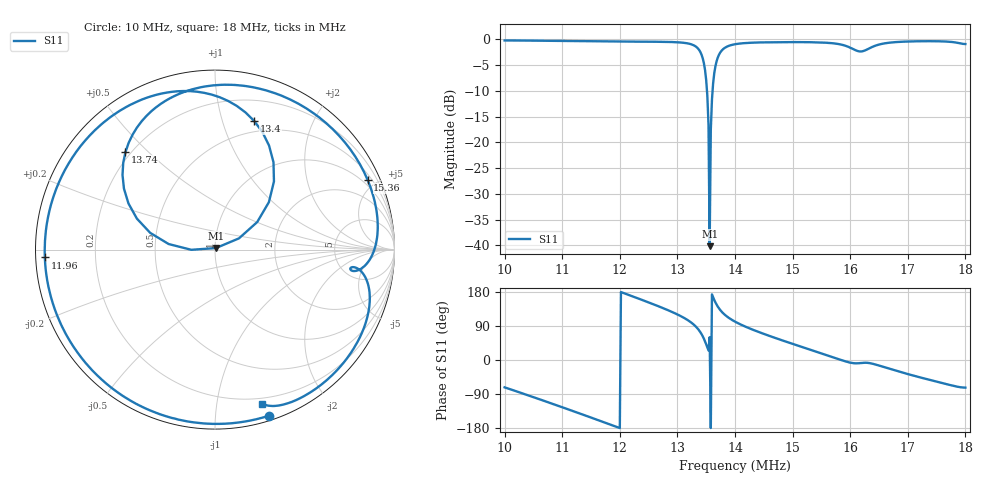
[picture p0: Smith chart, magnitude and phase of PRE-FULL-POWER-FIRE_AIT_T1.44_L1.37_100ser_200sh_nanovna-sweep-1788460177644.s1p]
! NanoVNA Web complex sweep
! Processing: original sample grid, no browser smoothing
# Hz S RI R 50
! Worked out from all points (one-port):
!   401 points, 10 MHz to 18 MHz, reference 50 ohm
!   lowest |S11| = -40.2 dB at 13.56 MHz (marker M1), VSWR 1.02, Z = 50.5 + j0.861 ohm
!   |S11| at or under -10 dB: 13.51 MHz to 13.61 MHz (97.54 kHz wide, 0.719 % of centre)
!   S11 on the Smith chart (normalised r, x): 10 MHz: 0.04, -1.37; 11.96 MHz: 0.03, -0.02; 13.4 MHz: 0.39, +1.27; 13.74 MHz: 0.18, +0.43; 15.36 MHz: 0.73, +4.49; 18 MHz: 0.15, -1.34
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1e7  0.2982 -0.9265
1.05e7  -0.1357 -0.9601
1.1e7  -0.5472 -0.792
1.15e7  -0.8417 -0.45
1.196e7  -0.9481 -0.0437
1.2e7  -0.9489 -0.00678
1.252e7  -0.826 0.4617
1.3e7  -0.4705 0.8074
1.326e7  -0.0998 0.8797
1.34e7  0.2184 0.7165
1.348e7  0.3285 0.3796
1.35e7  0.3003 0.2645
1.352e7  0.2353 0.1535
1.356e7  0.00489 0.00853
1.36e7  -0.2583 0.031
1.362e7  -0.361 0.0932
1.364e7  -0.4351 0.1726
1.374e7  -0.4987 0.5438
1.386e7  -0.3559 0.7699
1.4e7  -0.1746 0.8773
1.442e7  0.2655 0.8924
1.5e7  0.6907 0.6352
1.536e7  0.8506 0.3877
1.6e7  0.8205 -0.1016
1.634e7  0.8117 -0.1187
1.7e7  0.7578 -0.5742
1.758e7  0.4743 -0.8278
1.8e7  0.2635 -0.8591
